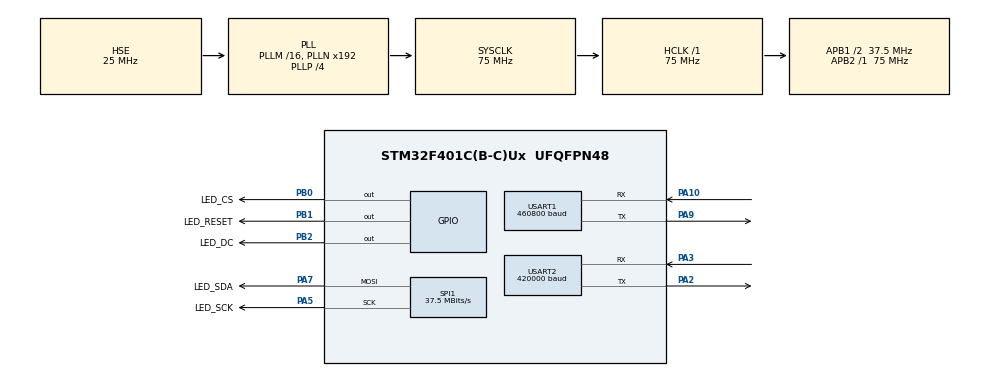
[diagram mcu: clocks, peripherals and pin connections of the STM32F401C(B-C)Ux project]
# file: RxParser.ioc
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Mcu.Family=STM32F4
Mcu.Name=STM32F401C(B-C)Ux
Mcu.Package=UFQFPN48
NVIC.PriorityGroup=NVIC_PRIORITYGROUP_4
NVIC.USART1_IRQn=true\:0\:0\:false\:false\:true\:true\:true\:true
NVIC.USART2_IRQn=true\:0\:0\:false\:false\:true\:true\:true\:true
PA10.Mode=Asynchronous
PA10.Signal=USART1_RX
PA2.Mode=Asynchronous
PA2.Signal=USART2_TX
PA3.Mode=Asynchronous
PA3.Signal=USART2_RX
PA5.GPIO_Label=LED_SCK
PA5.Mode=TX_Only_Simplex_Unidirect_Master
PA5.Signal=SPI1_SCK
PA7.GPIO_Label=LED_SDA
PA7.Mode=TX_Only_Simplex_Unidirect_Master
PA7.Signal=SPI1_MOSI
PA9.Mode=Asynchronous
PA9.Signal=USART1_TX
PB0.GPIO_Label=LED_CS
PB0.Signal=GPIO_Output
PB1.GPIO_Label=LED_RESET
PB1.Signal=GPIO_Output
PB2.GPIO_Label=LED_DC
PB2.Signal=GPIO_Output
PC14-OSC32_IN.Mode=LSE-External-Oscillator
PC14-OSC32_IN.Signal=RCC_OSC32_IN
PC15-OSC32_OUT.Mode=LSE-External-Oscillator
PC15-OSC32_OUT.Signal=RCC_OSC32_OUT
PH0\ -\ OSC_IN.Mode=HSE-External-Oscillator
PH0\ -\ OSC_IN.Signal=RCC_OSC_IN
PH1\ -\ OSC_OUT.Mode=HSE-External-Oscillator
PH1\ -\ OSC_OUT.Signal=RCC_OSC_OUT
ProjectManager.HeapSize=0x200
ProjectManager.StackSize=0x400
ProjectManager.TargetToolchain=STM32CubeIDE
RCC.48MHZClocksFreq_Value=75000000
RCC.AHBFreq_Value=75000000
RCC.APB1CLKDivider=RCC_HCLK_DIV2
RCC.APB1Freq_Value=37500000
RCC.APB1TimFreq_Value=75000000
RCC.APB2Freq_Value=75000000
RCC.APB2TimFreq_Value=75000000
RCC.CortexFreq_Value=75000000
RCC.HCLKFreq_Value=75000000
RCC.HSE_VALUE=25000000
RCC.HSI_VALUE=16000000
RCC.PLLP=RCC_PLLP_DIV4
RCC.PLLSourceVirtual=RCC_PLLSOURCE_HSE
RCC.SYSCLKFreq_VALUE=75000000
RCC.SYSCLKSource=RCC_SYSCLKSOURCE_PLLCLK
RCC.VCOOutputFreq_Value=300000000
SPI1.CalculateBaudRate=37.5 MBits/s
SPI1.Direction=SPI_DIRECTION_2LINES
SPI1.Mode=SPI_MODE_MASTER
SPI1.VirtualType=VM_MASTER
USART1.BaudRate=460800
USART1.VirtualMode=VM_ASYNC
USART2.BaudRate=420000
USART2.VirtualMode=VM_ASYNC
board=custom

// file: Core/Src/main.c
/* USER CODE BEGIN Header */
/**
  ******************************************************************************
  * @file           : main.c
  * @brief          : Main program body
  ******************************************************************************
  * @attention
  *
  * Copyright (c) 2025 STMicroelectronics.
  * All rights reserved.
  *
  * This software is licensed under terms that can be found in the LICENSE file
  * in the root directory of this software component.
  * If no LICENSE file comes with this software, it is provided AS-IS.
  *
  ******************************************************************************
  */
/* USER CODE END Header */
#include "main.h"

/* USER CODE BEGIN Includes */
#include <stdio.h>
#include <stdarg.h>
#include <string.h>
#include "st7735.h"
/* USER CODE END Includes */

/* USER CODE BEGIN PTD */
typedef struct
{

} ELRS_Packet_Typedef;
/* USER CODE END PTD */

SPI_HandleTypeDef hspi1;

UART_HandleTypeDef huart1;
UART_HandleTypeDef huart2;

/* USER CODE BEGIN PV */
uint8_t    rx_buffer[8];
uint32_t   rx_size;
uint8_t    rx_packet;
uint8_t    rx_types[256];

uint8_t  terminal_str[256];
uint8_t  terminal_cnt;
uint8_t  terminal_char;

/* USER CODE END PV */

void SystemClock_Config(void);
static void MX_GPIO_Init(void);
static void MX_USART2_UART_Init(void);
static void MX_USART1_UART_Init(void);
static void MX_SPI1_Init(void);
/* USER CODE BEGIN PFP */
void debug_printf(char *format, ...)
{
    va_list args;
    va_start(args, format);

    char text[128];
    char msg[168];

    memset(text,0,128);
    vsprintf(text, format, args);
    memset((char *)msg,0,168);
    sprintf(msg,"Debug > %s", text);

    HAL_UART_Transmit(&huart1, (uint8_t *)msg, strlen(msg), 1000);

    va_end(args);
}

/* USER CODE END PFP */

/* USER CODE BEGIN 0 */
uint8_t crc8tab[256] = {
    0x00, 0xD5, 0x7F, 0xAA, 0xFE, 0x2B, 0x81, 0x54, 0x29, 0xFC, 0x56, 0x83, 0xD7, 0x02, 0xA8, 0x7D,
    0x52, 0x87, 0x2D, 0xF8, 0xAC, 0x79, 0xD3, 0x06, 0x7B, 0xAE, 0x04, 0xD1, 0x85, 0x50, 0xFA, 0x2F,
    0xA4, 0x71, 0xDB, 0x0E, 0x5A, 0x8F, 0x25, 0xF0, 0x8D, 0x58, 0xF2, 0x27, 0x73, 0xA6, 0x0C, 0xD9,
    0xF6, 0x23, 0x89, 0x5C, 0x08, 0xDD, 0x77, 0xA2, 0xDF, 0x0A, 0xA0, 0x75, 0x21, 0xF4, 0x5E, 0x8B,
    0x9D, 0x48, 0xE2, 0x37, 0x63, 0xB6, 0x1C, 0xC9, 0xB4, 0x61, 0xCB, 0x1E, 0x4A, 0x9F, 0x35, 0xE0,
    0xCF, 0x1A, 0xB0, 0x65, 0x31, 0xE4, 0x4E, 0x9B, 0xE6, 0x33, 0x99, 0x4C, 0x18, 0xCD, 0x67, 0xB2,
    0x39, 0xEC, 0x46, 0x93, 0xC7, 0x12, 0xB8, 0x6D, 0x10, 0xC5, 0x6F, 0xBA, 0xEE, 0x3B, 0x91, 0x44,
    0x6B, 0xBE, 0x14, 0xC1, 0x95, 0x40, 0xEA, 0x3F, 0x42, 0x97, 0x3D, 0xE8, 0xBC, 0x69, 0xC3, 0x16,
    0xEF, 0x3A, 0x90, 0x45, 0x11, 0xC4, 0x6E, 0xBB, 0xC6, 0x13, 0xB9, 0x6C, 0x38, 0xED, 0x47, 0x92,
    0xBD, 0x68, 0xC2, 0x17, 0x43, 0x96, 0x3C, 0xE9, 0x94, 0x41, 0xEB, 0x3E, 0x6A, 0xBF, 0x15, 0xC0,
    0x4B, 0x9E, 0x34, 0xE1, 0xB5, 0x60, 0xCA, 0x1F, 0x62, 0xB7, 0x1D, 0xC8, 0x9C, 0x49, 0xE3, 0x36,
    0x19, 0xCC, 0x66, 0xB3, 0xE7, 0x32, 0x98, 0x4D, 0x30, 0xE5, 0x4F, 0x9A, 0xCE, 0x1B, 0xB1, 0x64,
    0x72, 0xA7, 0x0D, 0xD8, 0x8C, 0x59, 0xF3, 0x26, 0x5B, 0x8E, 0x24, 0xF1, 0xA5, 0x70, 0xDA, 0x0F,
    0x20, 0xF5, 0x5F, 0x8A, 0xDE, 0x0B, 0xA1, 0x74, 0x09, 0xDC, 0x76, 0xA3, 0xF7, 0x22, 0x88, 0x5D,
    0xD6, 0x03, 0xA9, 0x7C, 0x28, 0xFD, 0x57, 0x82, 0xFF, 0x2A, 0x80, 0x55, 0x01, 0xD4, 0x7E, 0xAB,
    0x84, 0x51, 0xFB, 0x2E, 0x7A, 0xAF, 0x05, 0xD0, 0xAD, 0x78, 0xD2, 0x07, 0x53, 0x86, 0x2C, 0xF9};

uint8_t crc8(const uint8_t * ptr, uint8_t len)
{
    uint8_t crc = 0;
    for (uint8_t i=0; i<len; i++)
        crc = crc8tab[crc ^ *ptr++];
    return crc;
}

#define TICKS_TO_US(x)  ((x - 992) * 5 / 8 + 1500)
#define US_TO_TICKS(x)  ((x - 1500) * 8 / 5 + 992)

crsfPayloadRcChannelsPacked_t rx_channels;
crsfLinkStatistics_t rx_statistics;

crsfFrameDef_t rx_frame;
volatile uint8_t rx_frame_status=0;

crsfFrameDef_t irq_frame;
volatile uint8_t irq_received=0;

void HAL_UART_RxCpltCallback(UART_HandleTypeDef *huart) {
	if (huart->Instance == USART1)
	{
		if (huart == &huart1)
		{
			terminal_cnt++;
			HAL_UART_Transmit_IT(&huart1, &terminal_char, 1);
			HAL_UART_Receive_IT(&huart1, &terminal_char, 1);
		}
	}
	//================================================================
	if (huart->Instance == USART2)
	{
    	switch(irq_received)
    	{
    	case 0:
    		if(rx_buffer[0]== CRSF_SYNC_BYTE)
    		{
    			irq_frame.bytes[irq_received]=CRSF_SYNC_BYTE;
    			irq_frame.syncbyte=irq_frame.bytes[0];
    			irq_received++;
    		}
    		break;
    	case 1:
    		if(rx_buffer[0]<=CRSF_FRAME_SIZE_MAX)
    		{
    			irq_frame.bytes[irq_received]=rx_buffer[0];
    			irq_frame.length=irq_frame.bytes[1];
    			irq_received++;
    		}
    		break;
    	case 2:
    			irq_frame.bytes[irq_received]=rx_buffer[0];
    			irq_frame.type=irq_frame.bytes[2];
    			irq_received++;
    		break;
    	default:
    			irq_frame.bytes[irq_received]=rx_buffer[0];
    			irq_received++;
    			if(irq_received==(irq_frame.length+2))
    			{
    				irq_frame.crc8=rx_buffer[0];
    				memcpy(&rx_frame, &irq_frame, sizeof(crsfFrameDef_t));
    				rx_frame_status=1;
    				irq_received=0;

    			}
    	}
    	HAL_UART_Receive_IT(&huart2, rx_buffer, 1);
    }
}

void print_channels()
{
	debug_printf("CH00=%d \n\r", rx_channels.chan0 );
	debug_printf("CH01=%d \n\r", rx_channels.chan1 );
	debug_printf("CH02=%d \n\r", rx_channels.chan2 );
	debug_printf("CH03=%d \n\r", rx_channels.chan3 );
	debug_printf("CH04=%d \n\r", rx_channels.chan4 );
	debug_printf("CH05=%d \n\r", rx_channels.chan5 );
	debug_printf("CH06=%d \n\r", rx_channels.chan6 );
	debug_printf("CH07=%d \n\r", rx_channels.chan7 );
	debug_printf("CH08=%d \n\r", rx_channels.chan8 );
	debug_printf("CH09=%d \n\r", rx_channels.chan9 );
	debug_printf("CH10=%d \n\r", rx_channels.chan10 );
	debug_printf("CH11=%d \n\r", rx_channels.chan11 );
	debug_printf("CH12=%d \n\r", rx_channels.chan12 );
	debug_printf("CH13=%d \n\r", rx_channels.chan13 );
	debug_printf("CH14=%d \n\r", rx_channels.chan14 );
	debug_printf("CH15=%d \n\r", rx_channels.chan15 );
}

void print_frames()
{
	for(uint8_t f=0; f<255; f++)
	 if(rx_types[f]!=0)
		 debug_printf("FT=%X %d \n\r", f, rx_types[f] );

}
/* USER CODE END 0 */

int main(void)
{

  /* MCU Configuration--------------------------------------------------------*/

  /* Reset of all peripherals, Initializes the Flash interface and the Systick. */
  HAL_Init();

  /* Configure the system clock */
  SystemClock_Config();

  /* Initialize all configured peripherals */
  MX_GPIO_Init();
  MX_USART2_UART_Init();
  MX_USART1_UART_Init();
  MX_SPI1_Init();
  /* USER CODE BEGIN 2 */
  ST7735_Init();

  HAL_UART_Receive_IT(&huart1, &terminal_char, 1);
  HAL_UART_Receive_IT(&huart2, rx_buffer, 1);
  rx_packet=1;
  int16_t rx_ch1;
  memset(rx_types,0,256);
  /* USER CODE END 2 */

  /* Infinite loop */
  /* USER CODE BEGIN WHILE */
  ST7735_Init();

  // Check border
  ST7735_FillScreen(ST7735_BLACK);
  ST7735_WriteString(0,  0, "X: ", Font_11x18, ST7735_WHITE, ST7735_BLACK);
  ST7735_WriteString(0, 18, "Y: ", Font_11x18, ST7735_WHITE, ST7735_BLACK);

  ST7735_WriteString(0, 18*2+5, "Move to 0", Font_11x18, ST7735_GREEN, ST7735_BLACK);
  ST7735_WriteString(0, 18*3+5, "Select ...", Font_11x18, ST7735_WHITE, ST7735_BLACK);
  ST7735_WriteString(0, 18*4+5, "Save ...", Font_11x18, ST7735_WHITE, ST7735_BLACK);

  ST7735_WriteString(0, 18*6+5, "Setup ...", Font_11x18, ST7735_WHITE, ST7735_BLACK);

  HAL_Delay(2000);

  uint32_t time_now = HAL_GetTick();
  uint32_t time_last= time_now;
  while (1)
  {
	  //===========================================================================
	  time_now = HAL_GetTick();
	  if( (time_now-time_last)> 500 )
	  {
		  char msg[32];
		  sprintf(msg,"X: %ld", time_last);
		  ST7735_WriteString(0,  0, msg, Font_11x18, ST7735_WHITE, ST7735_BLACK);

		  sprintf(msg,"Y: %ld", time_now);
		  ST7735_WriteString(0, 18, msg, Font_11x18, ST7735_WHITE, ST7735_BLACK);

		  time_last= HAL_GetTick();
	  }
	  //===========================================================================
	  if(terminal_cnt>0)
      {
    	  switch(terminal_char)
    	  {
    	  	  case 'w' : debug_printf("Move up\n\r"); break;
    	  	  case 's' : debug_printf("Move down\n\r"); break;
    	  	  case 'a' : debug_printf("Move left\n\r"); break;
    	  	  case 'd' : debug_printf("Move right\n\r"); break;
    	  	  case 'i' : debug_printf("Show info\n\r"); break;
    	  	  case 'z' : debug_printf("Move to zero\n\r"); break;
    	      case '0' : debug_printf("Store as zero\n\r"); break;
    	      case 'c' : print_channels(); break;
    	      case 'f' : print_frames(); break;
    	  }
    	  terminal_cnt--;
      }
      //===========================================================================
	 if(rx_frame_status==1)
	 {
		 rx_frame_status=0;
		 uint8_t frame_crc = crc8(&(rx_frame.bytes[2]),rx_frame.length-1);
		 if(frame_crc==rx_frame.crc8)
		 {
			 if(rx_frame.type==0x16)
			 {
				 memcpy((uint8_t *)&rx_channels, (uint8_t *)&(rx_frame.bytes[3]), 22);
				 rx_ch1=rx_channels.chan0;
				 rx_ch1=TICKS_TO_US(rx_ch1);
				// debug_printf("CH1=%d %d  \n\r", rx_channels.chan0, rx_ch1 );
			 }
			 else
			 {
				 rx_types[rx_frame.type]++;
			   //debug_printf("FT=%X - %d\n\r", rx_frame.type, rx_types[rx_frame.type] );
			 }
		 }
		 else
		 {
			 //debug_printf("Frame = %d CRC Error\n\r", rx_frame.type );
		 }

	 }
    /* USER CODE END WHILE */

  }
}

void SystemClock_Config(void)
{
  RCC_OscInitTypeDef RCC_OscInitStruct = {0};
  RCC_ClkInitTypeDef RCC_ClkInitStruct = {0};

  /** Configure the main internal regulator output voltage
  */
  __HAL_RCC_PWR_CLK_ENABLE();
  __HAL_PWR_VOLTAGESCALING_CONFIG(PWR_REGULATOR_VOLTAGE_SCALE2);

  /** Initializes the RCC Oscillators according to the specified parameters
  * in the RCC_OscInitTypeDef structure.
  */
  RCC_OscInitStruct.OscillatorType = RCC_OSCILLATORTYPE_HSE;
  RCC_OscInitStruct.HSEState = RCC_HSE_ON;
  RCC_OscInitStruct.PLL.PLLState = RCC_PLL_ON;
  RCC_OscInitStruct.PLL.PLLSource = RCC_PLLSOURCE_HSE;
  RCC_OscInitStruct.PLL.PLLM = 16;
  RCC_OscInitStruct.PLL.PLLN = 192;
  RCC_OscInitStruct.PLL.PLLP = RCC_PLLP_DIV4;
  RCC_OscInitStruct.PLL.PLLQ = 4;
  if (HAL_RCC_OscConfig(&RCC_OscInitStruct) != HAL_OK)
  {
    Error_Handler();
  }

  /** Initializes the CPU, AHB and APB buses clocks
  */
  RCC_ClkInitStruct.ClockType = RCC_CLOCKTYPE_HCLK|RCC_CLOCKTYPE_SYSCLK
                              |RCC_CLOCKTYPE_PCLK1|RCC_CLOCKTYPE_PCLK2;
  RCC_ClkInitStruct.SYSCLKSource = RCC_SYSCLKSOURCE_PLLCLK;
  RCC_ClkInitStruct.AHBCLKDivider = RCC_SYSCLK_DIV1;
  RCC_ClkInitStruct.APB1CLKDivider = RCC_HCLK_DIV2;
  RCC_ClkInitStruct.APB2CLKDivider = RCC_HCLK_DIV1;

  if (HAL_RCC_ClockConfig(&RCC_ClkInitStruct, FLASH_LATENCY_2) != HAL_OK)
  {
    Error_Handler();
  }
}

static void MX_SPI1_Init(void)
{

  /* SPI1 parameter configuration*/
  hspi1.Instance = SPI1;
  hspi1.Init.Mode = SPI_MODE_MASTER;
  hspi1.Init.Direction = SPI_DIRECTION_2LINES;
  hspi1.Init.DataSize = SPI_DATASIZE_8BIT;
  hspi1.Init.CLKPolarity = SPI_POLARITY_LOW;
  hspi1.Init.CLKPhase = SPI_PHASE_1EDGE;
  hspi1.Init.NSS = SPI_NSS_SOFT;
  hspi1.Init.BaudRatePrescaler = SPI_BAUDRATEPRESCALER_2;
  hspi1.Init.FirstBit = SPI_FIRSTBIT_MSB;
  hspi1.Init.TIMode = SPI_TIMODE_DISABLE;
  hspi1.Init.CRCCalculation = SPI_CRCCALCULATION_DISABLE;
  hspi1.Init.CRCPolynomial = 10;
  if (HAL_SPI_Init(&hspi1) != HAL_OK)
  {
    Error_Handler();
  }

}

static void MX_USART1_UART_Init(void)
{

  huart1.Instance = USART1;
  huart1.Init.BaudRate = 460800;
  huart1.Init.WordLength = UART_WORDLENGTH_8B;
  huart1.Init.StopBits = UART_STOPBITS_1;
  huart1.Init.Parity = UART_PARITY_NONE;
  huart1.Init.Mode = UART_MODE_TX_RX;
  huart1.Init.HwFlowCtl = UART_HWCONTROL_NONE;
  huart1.Init.OverSampling = UART_OVERSAMPLING_16;
  if (HAL_UART_Init(&huart1) != HAL_OK)
  {
    Error_Handler();
  }

}

static void MX_USART2_UART_Init(void)
{

  huart2.Instance = USART2;
  huart2.Init.BaudRate = 420000;
  huart2.Init.WordLength = UART_WORDLENGTH_8B;
  huart2.Init.StopBits = UART_STOPBITS_1;
  huart2.Init.Parity = UART_PARITY_NONE;
  huart2.Init.Mode = UART_MODE_TX_RX;
  huart2.Init.HwFlowCtl = UART_HWCONTROL_NONE;
  huart2.Init.OverSampling = UART_OVERSAMPLING_16;
  if (HAL_UART_Init(&huart2) != HAL_OK)
  {
    Error_Handler();
  }

}

static void MX_GPIO_Init(void)
{
  GPIO_InitTypeDef GPIO_InitStruct = {0};

  /* GPIO Ports Clock Enable */
  __HAL_RCC_GPIOC_CLK_ENABLE();
  __HAL_RCC_GPIOH_CLK_ENABLE();
  __HAL_RCC_GPIOA_CLK_ENABLE();
  __HAL_RCC_GPIOB_CLK_ENABLE();

  /*Configure GPIO pin Output Level */
  HAL_GPIO_WritePin(GPIOB, LED_CS_Pin|LED_RESET_Pin|LED_DC_Pin, GPIO_PIN_RESET);

  /*Configure GPIO pins : LED_CS_Pin LED_RESET_Pin LED_DC_Pin */
  GPIO_InitStruct.Pin = LED_CS_Pin|LED_RESET_Pin|LED_DC_Pin;
  GPIO_InitStruct.Mode = GPIO_MODE_OUTPUT_PP;
  GPIO_InitStruct.Pull = GPIO_NOPULL;
  GPIO_InitStruct.Speed = GPIO_SPEED_FREQ_LOW;
  HAL_GPIO_Init(GPIOB, &GPIO_InitStruct);

}

void Error_Handler(void)
{
  __disable_irq();
  while (1)
  {
  }
}
